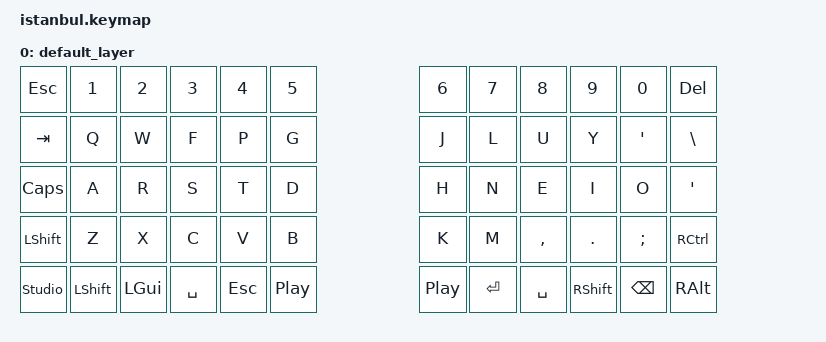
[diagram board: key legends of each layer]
/*
 * Copyright (c) 2025 The ZMK Contributors
 *
 * SPDX-License-Identifier: MIT
 */

#include <behaviors.dtsi>
#include <dt-bindings/zmk/keys.h>

/ {

    keymap {
        compatible = "zmk,keymap";

        // This is a sample keymap intended to be replaced with your own
        default_layer {

            bindings = <
            &kp ESC   &kp N1  &kp N2  &kp N3  &kp N4  &kp N5                                                                        &kp N6  &kp N7   &kp N8      &kp N9    &kp N0     &kp DEL
            &kp TAB   &kp Q   &kp W   &kp F   &kp P   &kp G                                                                         &kp J   &kp L    &kp U       &kp Y     &kp QUOT   &kp BSLH
            &kp CAPS  &kp A   &kp R   &kp S   &kp T   &kp D                                                                         &kp H   &kp N    &kp E       &kp I     &kp O      &kp SQT
            &kp LSHFT &kp Z   &kp X   &kp C   &kp V   &kp B                                                                         &kp K   &kp M    &kp COMMA   &kp DOT   &kp SEMI   &kp RCTRL
                        &studio_unlock &kp LSHFT &kp LGUI &kp SPACE &kp ESC   &kp C_PLAY_PAUSE         &kp C_PLAY_PAUSE     &kp RET &kp SPACE &kp RSHFT &kp BSPC &kp RALT
            >;

            // sensor-bindings = <&inc_dec_kp C_VOL_UP C_VOL_DN &inc_dec_kp PG_UP PG_DN>;
        };

    };
};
